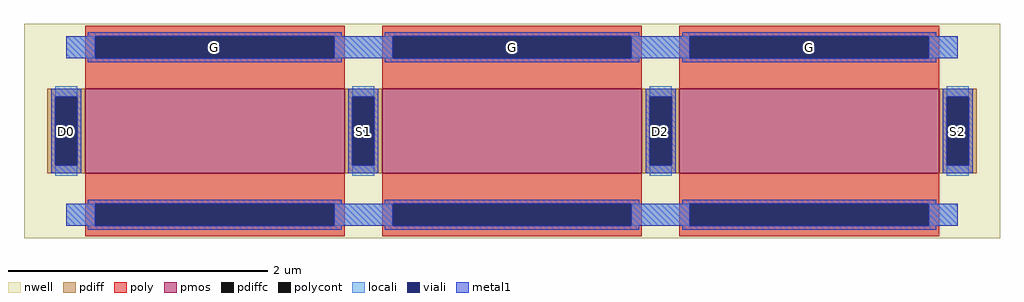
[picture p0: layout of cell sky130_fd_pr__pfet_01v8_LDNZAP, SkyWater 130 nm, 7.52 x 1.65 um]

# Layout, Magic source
magic
tech sky130A
magscale 1 2
<< nwell >>
rect -752 -165 752 165
<< pmos >>
rect -658 -65 -258 65
rect -200 -65 200 65
rect 258 -65 658 65
<< pdiff >>
rect -716 53 -658 65
rect -716 -53 -704 53
rect -670 -53 -658 53
rect -716 -65 -658 -53
rect -258 53 -200 65
rect -258 -53 -246 53
rect -212 -53 -200 53
rect -258 -65 -200 -53
rect 200 53 258 65
rect 200 -53 212 53
rect 246 -53 258 53
rect 200 -65 258 -53
rect 658 53 716 65
rect 658 -53 670 53
rect 704 -53 716 53
rect 658 -65 716 -53
<< pdiffc >>
rect -704 -53 -670 53
rect -246 -53 -212 53
rect 212 -53 246 53
rect 670 -53 704 53
<< poly >>
rect -658 146 -258 162
rect -658 112 -642 146
rect -274 112 -258 146
rect -658 65 -258 112
rect -200 146 200 162
rect -200 112 -184 146
rect 184 112 200 146
rect -200 65 200 112
rect 258 146 658 162
rect 258 112 274 146
rect 642 112 658 146
rect 258 65 658 112
rect -658 -112 -258 -65
rect -658 -146 -642 -112
rect -274 -146 -258 -112
rect -658 -162 -258 -146
rect -200 -112 200 -65
rect -200 -146 -184 -112
rect 184 -146 200 -112
rect -200 -162 200 -146
rect 258 -112 658 -65
rect 258 -146 274 -112
rect 642 -146 658 -112
rect 258 -162 658 -146
<< polycont >>
rect -642 112 -274 146
rect -184 112 184 146
rect 274 112 642 146
rect -642 -146 -274 -112
rect -184 -146 184 -112
rect 274 -146 642 -112
<< locali >>
rect -687 112 -642 146
rect -274 112 -184 146
rect 184 112 274 146
rect 642 112 687 146
rect -704 53 -670 69
rect -704 -69 -670 -53
rect -246 53 -212 69
rect -246 -69 -212 -53
rect 212 53 246 69
rect 212 -69 246 -53
rect 670 53 704 69
rect 670 -69 704 -53
rect -687 -146 -642 -112
rect -274 -146 -184 -112
rect 184 -146 274 -112
rect 642 -146 687 -112
<< viali >>
rect -642 112 -274 146
rect -184 112 184 146
rect 274 112 642 146
rect -704 -53 -670 53
rect -246 -53 -212 53
rect 212 -53 246 53
rect 670 -53 704 53
rect -642 -146 -274 -112
rect -184 -146 184 -112
rect 274 -146 642 -112
<< metal1 >>
rect -654 146 -262 152
rect -196 146 196 152
rect 262 146 654 152
rect -687 112 -642 146
rect -274 112 -184 146
rect 184 112 274 146
rect 642 112 687 146
rect -654 106 -262 112
rect -196 106 196 112
rect 262 106 654 112
rect -710 53 -664 65
rect -710 -53 -704 53
rect -670 -53 -664 53
rect -710 -65 -664 -53
rect -252 53 -206 65
rect -252 -53 -246 53
rect -212 -53 -206 53
rect -252 -65 -206 -53
rect 206 53 252 65
rect 206 -53 212 53
rect 246 -53 252 53
rect 206 -65 252 -53
rect 664 53 710 65
rect 664 -53 670 53
rect 704 -53 710 53
rect 664 -65 710 -53
rect -654 -112 -262 -106
rect -196 -112 196 -106
rect 262 -112 654 -106
rect -687 -146 -642 -112
rect -274 -146 -184 -112
rect 184 -146 274 -112
rect 642 -146 687 -112
rect -654 -152 -262 -146
rect -196 -152 196 -146
rect 262 -152 654 -146
<< labels >>
rlabel pdiffc -687 0 -687 0 0 D0
port 1 nsew
rlabel polycont -458 129 -458 129 0 G
port 2 nsew
rlabel pdiffc -229 0 -229 0 0 S1
port 3 nsew
rlabel polycont 0 129 0 129 0 G
port 2 nsew
rlabel pdiffc 229 0 229 0 0 D2
port 4 nsew
rlabel pdiffc 687 0 687 0 0 S2
port 5 nsew
rlabel polycont 458 129 458 129 0 G
port 2 nsew
<< properties >>
string gencell sky130_fd_pr__pfet_01v8
string library sky130
string parameters w 0.65 l 2 m 1 nf 3 diffcov 100 polycov 100 guard 0 glc 0 grc 0 gtc 0 gbc 0 tbcov 100 rlcov 100 topc 1 botc 1 poverlap 1 doverlap 1 lmin 0.15 wmin 0.42 class mosfet compatible {sky130_fd_pr__pfet_01v8  sky130_fd_pr__pfet_01v8_lvt sky130_fd_pr__pfet_01v8_hvt  sky130_fd_pr__pfet_g5v0d10v5} full_metal 0 conn_gates 1 viasrc 100 viadrn 100 viagate 100 viagb 0 viagr 0 viagl 0 viagt 0 doports 1
<< end >>
